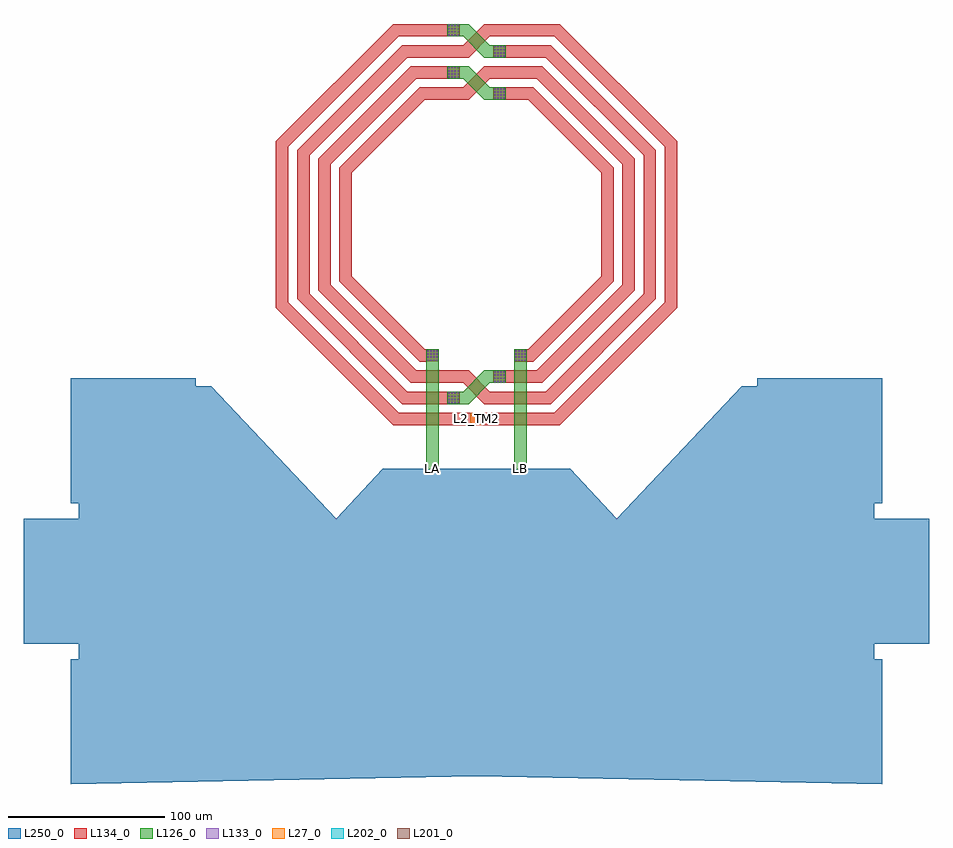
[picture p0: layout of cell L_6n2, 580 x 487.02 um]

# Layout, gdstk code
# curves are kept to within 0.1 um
import gdstk
lib = gdstk.Library(unit=1e-6, precision=1e-09)
def R(c, l, rs):  # rectangles x0, y0, x1, y1
    for r in rs: c.add(gdstk.rectangle(r[:2], r[2:], *l))
def A(c, l, x, y, w, h, nx, ny, dx, dy):  # array of equal rectangles
    R(c, l, [(x+i*dx, y+j*dy, x+i*dx+w, y+j*dy+h) for i in range(nx) for j in range(ny)])
def P(c, l, *ps):  # polygons
    for p in ps: c.add(gdstk.Polygon(p, *l))
L27_0 = (27, 0)
L126_0 = (126, 0)
L133_0 = (133, 0)
L134_0 = (134, 0)
L201_0 = (201, 0)
L202_0 = (202, 0)
L250_0 = (250, 0)

l_6n2 = lib.new_cell('L_6n2')
R(l_6n2, L27_0, [(-75.49,-20.005,-67.49,-12.005)])
R(l_6n2, L126_0, [(-103.675,-50.005,-95.675,28.495), (-47.305,-50.005,-39.305,28.495)])
P(l_6n2, L126_0, [(-90.18,-6.5),(-90.18,1.5),(-79.895,1.5),(-66.395,15),(-52.8,15),(-52.8,7),(-63.085,7),(-76.585,-6.5)],
  [(-66.395,188.52),(-79.895,202.02),(-90.18,202.02),(-90.18,210.02),(-76.585,210.02),(-63.085,196.52),(-52.8,196.52),(-52.8,188.52)],
  [(-66.395,215.52),(-79.895,229.02),(-90.18,229.02),(-90.18,237.02),(-76.585,237.02),(-63.085,223.52),(-52.8,223.52),(-52.8,215.52)])
A(l_6n2, L133_0, -89.58, -5.91, 0.9, 0.9, 4, 4, 1.97, 1.97)
A(l_6n2, L133_0, -60.21, 7.59, 0.9, 0.9, 4, 4, 1.97, 1.97)
A(l_6n2, L133_0, -103.08, 21.08, 0.9, 0.9, 4, 4, 1.97, 1.97)
A(l_6n2, L133_0, -46.71, 21.08, 0.9, 0.9, 4, 4, 1.97, 1.97)
A(l_6n2, L133_0, -60.21, 189.11, 0.9, 0.9, 4, 4, 1.97, 1.97)
A(l_6n2, L133_0, -89.58, 202.61, 0.9, 0.9, 4, 4, 1.97, 1.97)
A(l_6n2, L133_0, -60.21, 216.11, 0.9, 0.9, 4, 4, 1.97, 1.97)
A(l_6n2, L133_0, -89.58, 229.61, 0.9, 0.9, 4, 4, 1.97, 1.97)
P(l_6n2, L134_0, [(-90.175,-20.005),(-124.725,-20),(-200.01,55.285),(-200.01,161.735),(-124.725,237.02),(-82.18,237.02),(-82.18,229.02),(-121.415,229.02),(-192.01,158.425),(-192.01,58.595),(-121.415,-12),(-21.565,-12),(49.03,58.595),(49.03,158.425),(-21.565,229.02),(-63.085,229.02),(-76.585,215.52),(-115.815,215.52),(-178.5,152.835),(-178.5,64.185),(-115.815,1.5),(-82.18,1.5),(-82.18,-6.5),(-119.125,-6.5),(-186.5,60.875),(-186.5,156.145),(-119.125,223.52),(-79.895,223.52),(-66.395,237.02),(-18.255,237.02),(57.03,161.735),(57.03,55.285),(-18.255,-20)],
  [(-66.395,-6.5),(-79.895,7),(-113.535,7),(-173,66.465),(-173,150.555),(-113.535,210.02),(-82.18,210.02),(-82.18,202.02),(-110.225,202.02),(-165,147.245),(-165,69.775),(-110.225,15),(-76.585,15),(-63.085,1.5),(-27.165,1.5),(35.52,64.185),(35.52,152.835),(-27.165,215.52),(-60.8,215.52),(-60.8,223.52),(-23.855,223.52),(43.52,156.145),(43.52,60.875),(-23.855,-6.5)],
  [(-60.8,7),(-60.8,15),(-32.755,15),(22.02,69.775),(22.02,147.245),(-32.755,202.02),(-63.085,202.02),(-76.585,188.52),(-104.635,188.52),(-151.5,141.655),(-151.5,75.365),(-104.635,28.5),(-95.68,28.5),(-95.675,20.495),(-107.945,20.5),(-159.5,72.055),(-159.5,144.965),(-107.945,196.52),(-79.895,196.52),(-66.395,210.02),(-29.445,210.02),(30.02,150.555),(30.02,66.465),(-29.445,7)],
  [(-47.305,20.495),(-47.3,28.5),(-38.345,28.5),(8.52,75.365),(8.52,141.655),(-38.345,188.52),(-60.8,188.52),(-60.8,196.52),(-35.035,196.52),(16.52,144.965),(16.52,72.055),(-35.035,20.5)])
P(l_6n2, L201_0, [(-103.675,-50),(-103.675,-50),(-95.675,-50),(-95.675,-50)])
R(l_6n2, L202_0, [(-47.305,-50.005,-39.305,-50)])
P(l_6n2, L250_0, [(-361.5,-160),(-361.5,-80),(-326.5,-80),(-326.5,-70),(-331.5,-70),(-331.5,10),(-251.5,10),(-251.5,5),(-241.5,5),(-161.5,-80),(-131.5,-48),(-11.5,-48),(18.5,-80),(98.5,5),(108.5,5),(108.5,10),(188.5,10),(188.5,-70),(183.5,-70),(183.5,-80),(218.5,-80),(218.5,-160),(183.5,-160),(183.5,-170),(188.5,-170),(188.5,-250),(-71.495,-245),(-331.5,-250),(-331.5,-170),(-326.5,-170),(-326.5,-160)])
l_6n2.add(gdstk.Label('L2_TM2', (-71.49,-16.005), layer=63, texttype=0))
l_6n2.add(gdstk.Label('LB', (-43.305,-48.005), layer=63, texttype=0))
l_6n2.add(gdstk.Label('LA', (-99.675,-48.005), layer=63, texttype=0))

lib.write_gds('L_6n2.gds')
